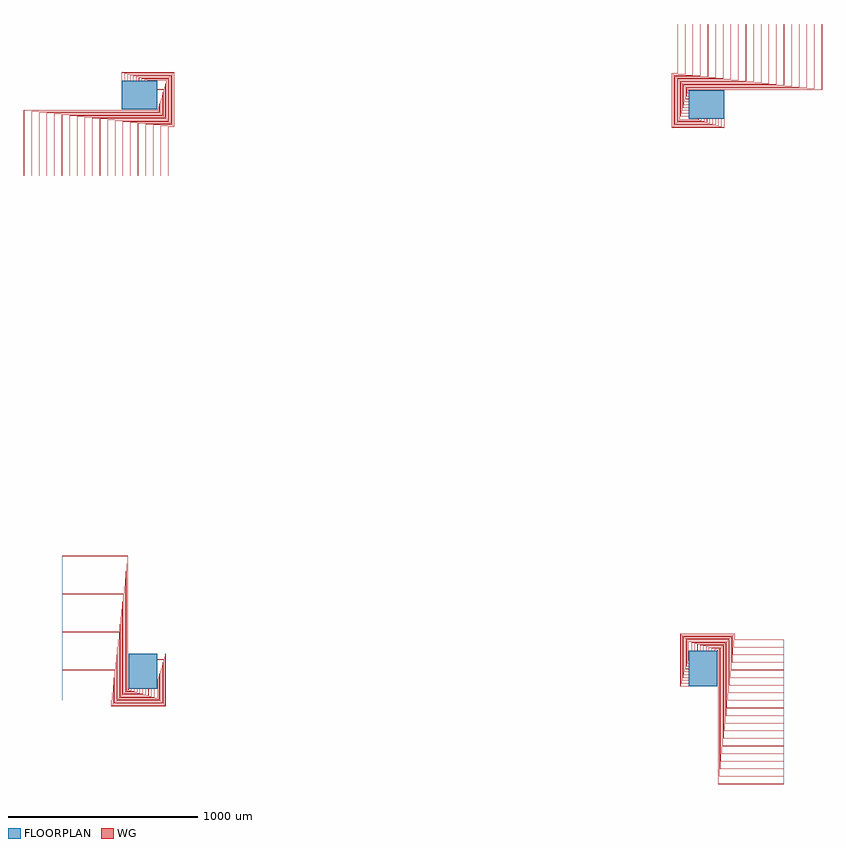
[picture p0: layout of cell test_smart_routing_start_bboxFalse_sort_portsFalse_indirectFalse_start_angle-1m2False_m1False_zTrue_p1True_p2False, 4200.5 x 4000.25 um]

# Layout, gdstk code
import gdstk
lib = gdstk.Library(unit=1e-6, precision=1e-09)
def R(c, l, rs):  # rectangles x0, y0, x1, y1
    for r in rs: c.add(gdstk.rectangle(r[:2], r[2:], *l))
def P(c, l, *ps):  # polygons
    for p in ps: c.add(gdstk.Polygon(p, *l))
WG = (1, 0)
FLOORPLAN = (10, 0)

test_smart_routing_start = lib.new_cell('test_smart_routing_start_bboxFalse_sort_portsFalse_indirectFalse_start_angle-1m2False_m1False_zTrue_p1True_p2False')
P(test_smart_routing_start, WG, [(2895.5,3049.75),(2895.5,3054.75),(3599.75,3054.75),(3599.75,3400),(3599.95,3400),(3599.95,3054.55),(2895.7,3054.55),(2895.7,3049.95),(2900,3049.95),(2900,3049.75)],
  [(2895.8,3050.05),(2895.8,3054.45),(3600.05,3054.45),(3600.05,3400),(3600.25,3400),(3600.25,3054.25),(2896,3054.25),(2896,3050.25),(2900,3050.25),(2900,3050.05)],
  [(2891,3034.75),(2891,3059.25),(3559.75,3059.25),(3559.75,3400),(3559.95,3400),(3559.95,3059.05),(2891.2,3059.05),(2891.2,3034.95),(2900,3034.95),(2900,3034.75)],
  [(2891.3,3035.05),(2891.3,3058.95),(3560.05,3058.95),(3560.05,3400),(3560.25,3400),(3560.25,3058.75),(2891.5,3058.75),(2891.5,3035.25),(2900,3035.25),(2900,3035.05)],
  [(2886.5,3019.75),(2886.5,3063.75),(3519.75,3063.75),(3519.75,3400),(3519.95,3400),(3519.95,3063.55),(2886.7,3063.55),(2886.7,3019.95),(2900,3019.95),(2900,3019.75)],
  [(2886.8,3020.05),(2886.8,3063.45),(3520.05,3063.45),(3520.05,3400),(3520.25,3400),(3520.25,3063.25),(2887,3063.25),(2887,3020.25),(2900,3020.25),(2900,3020.05)],
  [(2882,3004.75),(2882,3068.25),(3479.75,3068.25),(3479.75,3400),(3479.95,3400),(3479.95,3068.05),(2882.2,3068.05),(2882.2,3004.95),(2900,3004.95),(2900,3004.75)],
  [(2882.3,3005.05),(2882.3,3067.95),(3480.05,3067.95),(3480.05,3400),(3480.25,3400),(3480.25,3067.75),(2882.5,3067.75),(2882.5,3005.25),(2900,3005.25),(2900,3005.05)],
  [(2877.5,2989.75),(2877.5,3072.75),(3439.75,3072.75),(3439.75,3400),(3439.95,3400),(3439.95,3072.55),(2877.7,3072.55),(2877.7,2989.95),(2900,2989.95),(2900,2989.75)],
  [(2877.8,2990.05),(2877.8,3072.45),(3440.05,3072.45),(3440.05,3400),(3440.25,3400),(3440.25,3072.25),(2878,3072.25),(2878,2990.25),(2900,2990.25),(2900,2990.05)],
  [(2873,2974.75),(2873,3077.25),(3399.75,3077.25),(3399.75,3400),(3399.95,3400),(3399.95,3077.05),(2873.2,3077.05),(2873.2,2974.95),(2900,2974.95),(2900,2974.75)],
  [(2873.3,2975.05),(2873.3,3076.95),(3400.05,3076.95),(3400.05,3400),(3400.25,3400),(3400.25,3076.75),(2873.5,3076.75),(2873.5,2975.25),(2900,2975.25),(2900,2975.05)],
  [(2868.5,2959.75),(2868.5,3081.75),(3359.75,3081.75),(3359.75,3400),(3359.95,3400),(3359.95,3081.55),(2868.7,3081.55),(2868.7,2959.95),(2900,2959.95),(2900,2959.75)],
  [(2868.8,2960.05),(2868.8,3081.45),(3360.05,3081.45),(3360.05,3400),(3360.25,3400),(3360.25,3081.25),(2869,3081.25),(2869,2960.25),(2900,2960.25),(2900,2960.05)],
  [(2864,2944.75),(2864,3086.25),(3319.75,3086.25),(3319.75,3400),(3319.95,3400),(3319.95,3086.05),(2864.2,3086.05),(2864.2,2944.95),(2900,2944.95),(2900,2944.75)],
  [(2864.3,2945.05),(2864.3,3085.95),(3320.05,3085.95),(3320.05,3400),(3320.25,3400),(3320.25,3085.75),(2864.5,3085.75),(2864.5,2945.25),(2900,2945.25),(2900,2945.05)],
  [(2859.5,2929.75),(2859.5,3090.75),(3279.75,3090.75),(3279.75,3400),(3279.95,3400),(3279.95,3090.55),(2859.7,3090.55),(2859.7,2929.95),(2900,2929.95),(2900,2929.75)],
  [(2859.8,2930.05),(2859.8,3090.45),(3280.05,3090.45),(3280.05,3400),(3280.25,3400),(3280.25,3090.25),(2860,3090.25),(2860,2930.25),(2900,2930.25),(2900,2930.05)],
  [(2855,2914.75),(2855,3095.25),(3239.75,3095.25),(3239.75,3400),(3239.95,3400),(3239.95,3095.05),(2855.2,3095.05),(2855.2,2914.95),(2900,2914.95),(2900,2914.75)],
  [(2855.3,2915.05),(2855.3,3094.95),(3240.05,3094.95),(3240.05,3400),(3240.25,3400),(3240.25,3094.75),(2855.5,3094.75),(2855.5,2915.25),(2900,2915.25),(2900,2915.05)],
  [(2850.5,2895.5),(2850.5,3099.75),(3199.75,3099.75),(3199.75,3400),(3199.95,3400),(3199.95,3099.55),(2850.7,3099.55),(2850.7,2895.7),(2950.05,2895.7),(2950.05,2900),(2950.25,2900),(2950.25,2895.5)],
  [(2850.8,2895.8),(2850.8,3099.45),(3200.05,3099.45),(3200.05,3400),(3200.25,3400),(3200.25,3099.25),(2851,3099.25),(2851,2896),(2949.75,2896),(2949.75,2900),(2949.95,2900),(2949.95,2895.8)],
  [(2846,2891),(2846,3104.25),(3159.75,3104.25),(3159.75,3400),(3159.95,3400),(3159.95,3104.05),(2846.2,3104.05),(2846.2,2891.2),(2965.05,2891.2),(2965.05,2900),(2965.25,2900),(2965.25,2891)],
  [(2846.3,2891.3),(2846.3,3103.95),(3160.05,3103.95),(3160.05,3400),(3160.25,3400),(3160.25,3103.75),(2846.5,3103.75),(2846.5,2891.5),(2964.75,2891.5),(2964.75,2900),(2964.95,2900),(2964.95,2891.3)],
  [(2841.5,2886.5),(2841.5,3108.75),(3119.75,3108.75),(3119.75,3400),(3119.95,3400),(3119.95,3108.55),(2841.7,3108.55),(2841.7,2886.7),(2980.05,2886.7),(2980.05,2900),(2980.25,2900),(2980.25,2886.5)],
  [(2841.8,2886.8),(2841.8,3108.45),(3120.05,3108.45),(3120.05,3400),(3120.25,3400),(3120.25,3108.25),(2842,3108.25),(2842,2887),(2979.75,2887),(2979.75,2900),(2979.95,2900),(2979.95,2886.8)],
  [(2837,2882),(2837,3113.25),(3079.75,3113.25),(3079.75,3400),(3079.95,3400),(3079.95,3113.05),(2837.2,3113.05),(2837.2,2882.2),(2995.05,2882.2),(2995.05,2900),(2995.25,2900),(2995.25,2882)],
  [(2837.3,2882.3),(2837.3,3112.95),(3080.05,3112.95),(3080.05,3400),(3080.25,3400),(3080.25,3112.75),(2837.5,3112.75),(2837.5,2882.5),(2994.75,2882.5),(2994.75,2900),(2994.95,2900),(2994.95,2882.3)],
  [(2832.5,2877.5),(2832.5,3117.75),(3039.75,3117.75),(3039.75,3400),(3039.95,3400),(3039.95,3117.55),(2832.7,3117.55),(2832.7,2877.7),(3010.05,2877.7),(3010.05,2900),(3010.25,2900),(3010.25,2877.5)],
  [(2832.8,2877.8),(2832.8,3117.45),(3040.05,3117.45),(3040.05,3400),(3040.25,3400),(3040.25,3117.25),(2833,3117.25),(2833,2878),(3009.75,2878),(3009.75,2900),(3009.95,2900),(3009.95,2877.8)],
  [(2828,2873),(2828,3122.25),(2999.75,3122.25),(2999.75,3400),(2999.95,3400),(2999.95,3122.05),(2828.2,3122.05),(2828.2,2873.2),(3025.05,2873.2),(3025.05,2900),(3025.25,2900),(3025.25,2873)],
  [(2828.3,2873.3),(2828.3,3121.95),(3000.05,3121.95),(3000.05,3400),(3000.25,3400),(3000.25,3121.75),(2828.5,3121.75),(2828.5,2873.5),(3024.75,2873.5),(3024.75,2900),(3024.95,2900),(3024.95,2873.3)],
  [(2823.5,2868.5),(2823.5,3126.75),(2959.75,3126.75),(2959.75,3400),(2959.95,3400),(2959.95,3126.55),(2823.7,3126.55),(2823.7,2868.7),(3040.05,2868.7),(3040.05,2900),(3040.25,2900),(3040.25,2868.5)],
  [(2823.8,2868.8),(2823.8,3126.45),(2960.05,3126.45),(2960.05,3400),(2960.25,3400),(2960.25,3126.25),(2824,3126.25),(2824,2869),(3039.75,2869),(3039.75,2900),(3039.95,2900),(3039.95,2868.8)],
  [(2819,2864),(2819,3131.25),(2919.75,3131.25),(2919.75,3400),(2919.95,3400),(2919.95,3131.05),(2819.2,3131.05),(2819.2,2864.2),(3055.05,2864.2),(3055.05,2900),(3055.25,2900),(3055.25,2864)],
  [(2819.3,2864.3),(2819.3,3130.95),(2920.05,3130.95),(2920.05,3400),(2920.25,3400),(2920.25,3130.75),(2819.5,3130.75),(2819.5,2864.5),(3054.75,2864.5),(3054.75,2900),(3054.95,2900),(3054.95,2864.3)],
  [(2814.5,2859.5),(2814.5,3135.75),(2879.75,3135.75),(2879.75,3400),(2879.95,3400),(2879.95,3135.55),(2814.7,3135.55),(2814.7,2859.7),(3070.05,2859.7),(3070.05,2900),(3070.25,2900),(3070.25,2859.5)],
  [(2814.8,2859.8),(2814.8,3135.45),(2880.05,3135.45),(2880.05,3400),(2880.25,3400),(2880.25,3135.25),(2815,3135.25),(2815,2860),(3069.75,2860),(3069.75,2900),(3069.95,2900),(3069.95,2859.8)],
  [(2810,2855),(2810,3140.25),(2839.75,3140.25),(2839.75,3400),(2839.95,3400),(2839.95,3140.05),(2810.2,3140.05),(2810.2,2855.2),(3085.05,2855.2),(3085.05,2900),(3085.25,2900),(3085.25,2855)],
  [(2810.3,2855.3),(2810.3,3139.95),(2840.05,3139.95),(2840.05,3400),(2840.25,3400),(2840.25,3139.75),(2810.5,3139.75),(2810.5,2855.5),(3084.75,2855.5),(3084.75,2900),(3084.95,2900),(3084.95,2855.3)],
  [(-600.25,2600),(-600.25,2945.75),(104,2945.75),(104,2949.75),(100,2949.75),(100,2949.95),(104.2,2949.95),(104.2,2945.55),(-600.05,2945.55),(-600.05,2600)],
  [(-599.95,2600),(-599.95,2945.45),(104.3,2945.45),(104.3,2950.05),(100,2950.05),(100,2950.25),(104.5,2950.25),(104.5,2945.25),(-599.75,2945.25),(-599.75,2600)],
  [(-560.25,2600),(-560.25,2941.25),(108.5,2941.25),(108.5,2964.75),(100,2964.75),(100,2964.95),(108.7,2964.95),(108.7,2941.05),(-560.05,2941.05),(-560.05,2600)],
  [(-559.95,2600),(-559.95,2940.95),(108.8,2940.95),(108.8,2965.05),(100,2965.05),(100,2965.25),(109,2965.25),(109,2940.75),(-559.75,2940.75),(-559.75,2600)],
  [(-520.25,2600),(-520.25,2936.75),(113,2936.75),(113,2979.75),(100,2979.75),(100,2979.95),(113.2,2979.95),(113.2,2936.55),(-520.05,2936.55),(-520.05,2600)],
  [(-519.95,2600),(-519.95,2936.45),(113.3,2936.45),(113.3,2980.05),(100,2980.05),(100,2980.25),(113.5,2980.25),(113.5,2936.25),(-519.75,2936.25),(-519.75,2600)],
  [(-480.25,2600),(-480.25,2932.25),(117.5,2932.25),(117.5,2994.75),(100,2994.75),(100,2994.95),(117.7,2994.95),(117.7,2932.05),(-480.05,2932.05),(-480.05,2600)],
  [(-479.95,2600),(-479.95,2931.95),(117.8,2931.95),(117.8,2995.05),(100,2995.05),(100,2995.25),(118,2995.25),(118,2931.75),(-479.75,2931.75),(-479.75,2600)],
  [(-440.25,2600),(-440.25,2927.75),(122,2927.75),(122,3009.75),(100,3009.75),(100,3009.95),(122.2,3009.95),(122.2,2927.55),(-440.05,2927.55),(-440.05,2600)],
  [(-439.95,2600),(-439.95,2927.45),(122.3,2927.45),(122.3,3010.05),(100,3010.05),(100,3010.25),(122.5,3010.25),(122.5,2927.25),(-439.75,2927.25),(-439.75,2600)],
  [(-400.25,2600),(-400.25,2923.25),(126.5,2923.25),(126.5,3024.75),(100,3024.75),(100,3024.95),(126.7,3024.95),(126.7,2923.05),(-400.05,2923.05),(-400.05,2600)],
  [(-399.95,2600),(-399.95,2922.95),(126.8,2922.95),(126.8,3025.05),(100,3025.05),(100,3025.25),(127,3025.25),(127,2922.75),(-399.75,2922.75),(-399.75,2600)],
  [(-360.25,2600),(-360.25,2918.75),(131,2918.75),(131,3039.75),(100,3039.75),(100,3039.95),(131.2,3039.95),(131.2,2918.55),(-360.05,2918.55),(-360.05,2600)],
  [(-359.95,2600),(-359.95,2918.45),(131.3,2918.45),(131.3,3040.05),(100,3040.05),(100,3040.25),(131.5,3040.25),(131.5,2918.25),(-359.75,2918.25),(-359.75,2600)],
  [(-320.25,2600),(-320.25,2914.25),(135.5,2914.25),(135.5,3054.75),(100,3054.75),(100,3054.95),(135.7,3054.95),(135.7,2914.05),(-320.05,2914.05),(-320.05,2600)],
  [(-319.95,2600),(-319.95,2913.95),(135.8,2913.95),(135.8,3055.05),(100,3055.05),(100,3055.25),(136,3055.25),(136,2913.75),(-319.75,2913.75),(-319.75,2600)],
  [(-280.25,2600),(-280.25,2909.75),(140,2909.75),(140,3069.75),(100,3069.75),(100,3069.95),(140.2,3069.95),(140.2,2909.55),(-280.05,2909.55),(-280.05,2600)],
  [(-279.95,2600),(-279.95,2909.45),(140.3,2909.45),(140.3,3070.05),(100,3070.05),(100,3070.25),(140.5,3070.25),(140.5,2909.25),(-279.75,2909.25),(-279.75,2600)],
  [(-240.25,2600),(-240.25,2905.25),(144.5,2905.25),(144.5,3084.75),(100,3084.75),(100,3084.95),(144.7,3084.95),(144.7,2905.05),(-240.05,2905.05),(-240.05,2600)],
  [(-239.95,2600),(-239.95,2904.95),(144.8,2904.95),(144.8,3085.05),(100,3085.05),(100,3085.25),(145,3085.25),(145,2904.75),(-239.75,2904.75),(-239.75,2600)],
  [(-200.25,2600),(-200.25,2900.75),(149,2900.75),(149,3104),(50.25,3104),(50.25,3100),(50.05,3100),(50.05,3104.2),(149.2,3104.2),(149.2,2900.55),(-200.05,2900.55),(-200.05,2600)],
  [(-199.95,2600),(-199.95,2900.45),(149.3,2900.45),(149.3,3104.3),(49.95,3104.3),(49.95,3100),(49.75,3100),(49.75,3104.5),(149.5,3104.5),(149.5,2900.25),(-199.75,2900.25),(-199.75,2600)],
  [(-160.25,2600),(-160.25,2896.25),(153.5,2896.25),(153.5,3108.5),(35.25,3108.5),(35.25,3100),(35.05,3100),(35.05,3108.7),(153.7,3108.7),(153.7,2896.05),(-160.05,2896.05),(-160.05,2600)],
  [(-159.95,2600),(-159.95,2895.95),(153.8,2895.95),(153.8,3108.8),(34.95,3108.8),(34.95,3100),(34.75,3100),(34.75,3109),(154,3109),(154,2895.75),(-159.75,2895.75),(-159.75,2600)],
  [(-120.25,2600),(-120.25,2891.75),(158,2891.75),(158,3113),(20.25,3113),(20.25,3100),(20.05,3100),(20.05,3113.2),(158.2,3113.2),(158.2,2891.55),(-120.05,2891.55),(-120.05,2600)],
  [(-119.95,2600),(-119.95,2891.45),(158.3,2891.45),(158.3,3113.3),(19.95,3113.3),(19.95,3100),(19.75,3100),(19.75,3113.5),(158.5,3113.5),(158.5,2891.25),(-119.75,2891.25),(-119.75,2600)],
  [(-80.25,2600),(-80.25,2887.25),(162.5,2887.25),(162.5,3117.5),(5.25,3117.5),(5.25,3100),(5.05,3100),(5.05,3117.7),(162.7,3117.7),(162.7,2887.05),(-80.05,2887.05),(-80.05,2600)],
  [(-79.95,2600),(-79.95,2886.95),(162.8,2886.95),(162.8,3117.8),(4.95,3117.8),(4.95,3100),(4.75,3100),(4.75,3118),(163,3118),(163,2886.75),(-79.75,2886.75),(-79.75,2600)],
  [(-40.25,2600),(-40.25,2882.75),(167,2882.75),(167,3122),(-9.75,3122),(-9.75,3100),(-9.95,3100),(-9.95,3122.2),(167.2,3122.2),(167.2,2882.55),(-40.05,2882.55),(-40.05,2600)],
  [(-39.95,2600),(-39.95,2882.45),(167.3,2882.45),(167.3,3122.3),(-10.05,3122.3),(-10.05,3100),(-10.25,3100),(-10.25,3122.5),(167.5,3122.5),(167.5,2882.25),(-39.75,2882.25),(-39.75,2600)],
  [(-0.25,2600),(-0.25,2878.25),(171.5,2878.25),(171.5,3126.5),(-24.75,3126.5),(-24.75,3100),(-24.95,3100),(-24.95,3126.7),(171.7,3126.7),(171.7,2878.05),(-0.05,2878.05),(-0.05,2600)],
  [(0.05,2600),(0.05,2877.95),(171.8,2877.95),(171.8,3126.8),(-25.05,3126.8),(-25.05,3100),(-25.25,3100),(-25.25,3127),(172,3127),(172,2877.75),(0.25,2877.75),(0.25,2600)],
  [(39.75,2600),(39.75,2873.75),(176,2873.75),(176,3131),(-39.75,3131),(-39.75,3100),(-39.95,3100),(-39.95,3131.2),(176.2,3131.2),(176.2,2873.55),(39.95,2873.55),(39.95,2600)],
  [(40.05,2600),(40.05,2873.45),(176.3,2873.45),(176.3,3131.3),(-40.05,3131.3),(-40.05,3100),(-40.25,3100),(-40.25,3131.5),(176.5,3131.5),(176.5,2873.25),(40.25,2873.25),(40.25,2600)],
  [(79.75,2600),(79.75,2869.25),(180.5,2869.25),(180.5,3135.5),(-54.75,3135.5),(-54.75,3100),(-54.95,3100),(-54.95,3135.7),(180.7,3135.7),(180.7,2869.05),(79.95,2869.05),(79.95,2600)],
  [(80.05,2600),(80.05,2868.95),(180.8,2868.95),(180.8,3135.8),(-55.05,3135.8),(-55.05,3100),(-55.25,3100),(-55.25,3136),(181,3136),(181,2868.75),(80.25,2868.75),(80.25,2600)],
  [(119.75,2600),(119.75,2864.75),(185,2864.75),(185,3140),(-69.75,3140),(-69.75,3100),(-69.95,3100),(-69.95,3140.2),(185.2,3140.2),(185.2,2864.55),(119.95,2864.55),(119.95,2600)],
  [(120.05,2600),(120.05,2864.45),(185.3,2864.45),(185.3,3140.3),(-70.05,3140.3),(-70.05,3100),(-70.25,3100),(-70.25,3140.5),(185.5,3140.5),(185.5,2864.25),(120.25,2864.25),(120.25,2600)],
  [(159.75,2600),(159.75,2860.25),(189.5,2860.25),(189.5,3144.5),(-84.75,3144.5),(-84.75,3100),(-84.95,3100),(-84.95,3144.7),(189.7,3144.7),(189.7,2860.05),(159.95,2860.05),(159.95,2600)],
  [(160.05,2600),(160.05,2859.95),(189.8,2859.95),(189.8,3144.8),(-85.05,3144.8),(-85.05,3100),(-85.25,3100),(-85.25,3145),(190,3145),(190,2859.75),(160.25,2859.75),(160.25,2600)],
  [(-54.75,-104.5),(-54.75,599.75),(-400,599.75),(-400,599.95),(-54.55,599.95),(-54.55,-104.3),(-49.95,-104.3),(-49.95,-100),(-49.75,-100),(-49.75,-104.5)],
  [(-54.45,-104.2),(-54.45,600.05),(-400,600.05),(-400,600.25),(-54.25,600.25),(-54.25,-104),(-50.25,-104),(-50.25,-100),(-50.05,-100),(-50.05,-104.2)],
  [(-59.25,-109),(-59.25,559.75),(-400,559.75),(-400,559.95),(-59.05,559.95),(-59.05,-108.8),(-34.95,-108.8),(-34.95,-100),(-34.75,-100),(-34.75,-109)],
  [(-58.95,-108.7),(-58.95,560.05),(-400,560.05),(-400,560.25),(-58.75,560.25),(-58.75,-108.5),(-35.25,-108.5),(-35.25,-100),(-35.05,-100),(-35.05,-108.7)],
  [(-63.75,-113.5),(-63.75,519.75),(-400,519.75),(-400,519.95),(-63.55,519.95),(-63.55,-113.3),(-19.95,-113.3),(-19.95,-100),(-19.75,-100),(-19.75,-113.5)],
  [(-63.45,-113.2),(-63.45,520.05),(-400,520.05),(-400,520.25),(-63.25,520.25),(-63.25,-113),(-20.25,-113),(-20.25,-100),(-20.05,-100),(-20.05,-113.2)],
  [(-68.25,-118),(-68.25,479.75),(-400,479.75),(-400,479.95),(-68.05,479.95),(-68.05,-117.8),(-4.95,-117.8),(-4.95,-100),(-4.75,-100),(-4.75,-118)],
  [(-67.95,-117.7),(-67.95,480.05),(-400,480.05),(-400,480.25),(-67.75,480.25),(-67.75,-117.5),(-5.25,-117.5),(-5.25,-100),(-5.05,-100),(-5.05,-117.7)],
  [(-72.75,-122.5),(-72.75,439.75),(-400,439.75),(-400,439.95),(-72.55,439.95),(-72.55,-122.3),(10.05,-122.3),(10.05,-100),(10.25,-100),(10.25,-122.5)],
  [(-72.45,-122.2),(-72.45,440.05),(-400,440.05),(-400,440.25),(-72.25,440.25),(-72.25,-122),(9.75,-122),(9.75,-100),(9.95,-100),(9.95,-122.2)],
  [(-77.25,-127),(-77.25,399.75),(-400,399.75),(-400,399.95),(-77.05,399.95),(-77.05,-126.8),(25.05,-126.8),(25.05,-100),(25.25,-100),(25.25,-127)],
  [(-76.95,-126.7),(-76.95,400.05),(-400,400.05),(-400,400.25),(-76.75,400.25),(-76.75,-126.5),(24.75,-126.5),(24.75,-100),(24.95,-100),(24.95,-126.7)],
  [(-81.75,-131.5),(-81.75,359.75),(-400,359.75),(-400,359.95),(-81.55,359.95),(-81.55,-131.3),(40.05,-131.3),(40.05,-100),(40.25,-100),(40.25,-131.5)],
  [(-81.45,-131.2),(-81.45,360.05),(-400,360.05),(-400,360.25),(-81.25,360.25),(-81.25,-131),(39.75,-131),(39.75,-100),(39.95,-100),(39.95,-131.2)],
  [(-86.25,-136),(-86.25,319.75),(-400,319.75),(-400,319.95),(-86.05,319.95),(-86.05,-135.8),(55.05,-135.8),(55.05,-100),(55.25,-100),(55.25,-136)],
  [(-85.95,-135.7),(-85.95,320.05),(-400,320.05),(-400,320.25),(-85.75,320.25),(-85.75,-135.5),(54.75,-135.5),(54.75,-100),(54.95,-100),(54.95,-135.7)],
  [(-90.75,-140.5),(-90.75,279.75),(-400,279.75),(-400,279.95),(-90.55,279.95),(-90.55,-140.3),(70.05,-140.3),(70.05,-100),(70.25,-100),(70.25,-140.5)],
  [(-90.45,-140.2),(-90.45,280.05),(-400,280.05),(-400,280.25),(-90.25,280.25),(-90.25,-140),(69.75,-140),(69.75,-100),(69.95,-100),(69.95,-140.2)],
  [(-95.25,-145),(-95.25,239.75),(-400,239.75),(-400,239.95),(-95.05,239.95),(-95.05,-144.8),(85.05,-144.8),(85.05,-100),(85.25,-100),(85.25,-145)],
  [(-94.95,-144.7),(-94.95,240.05),(-400,240.05),(-400,240.25),(-94.75,240.25),(-94.75,-144.5),(84.75,-144.5),(84.75,-100),(84.95,-100),(84.95,-144.7)],
  [(-99.75,-149.5),(-99.75,199.75),(-400,199.75),(-400,199.95),(-99.55,199.95),(-99.55,-149.3),(104.3,-149.3),(104.3,-49.95),(100,-49.95),(100,-49.75),(104.5,-49.75),(104.5,-149.5)],
  [(-99.45,-149.2),(-99.45,200.05),(-400,200.05),(-400,200.25),(-99.25,200.25),(-99.25,-149),(104,-149),(104,-50.25),(100,-50.25),(100,-50.05),(104.2,-50.05),(104.2,-149.2)],
  [(-104.25,-154),(-104.25,159.75),(-400,159.75),(-400,159.95),(-104.05,159.95),(-104.05,-153.8),(108.8,-153.8),(108.8,-34.95),(100,-34.95),(100,-34.75),(109,-34.75),(109,-154)],
  [(-103.95,-153.7),(-103.95,160.05),(-400,160.05),(-400,160.25),(-103.75,160.25),(-103.75,-153.5),(108.5,-153.5),(108.5,-35.25),(100,-35.25),(100,-35.05),(108.7,-35.05),(108.7,-153.7)],
  [(-108.75,-158.5),(-108.75,119.75),(-400,119.75),(-400,119.95),(-108.55,119.95),(-108.55,-158.3),(113.3,-158.3),(113.3,-19.95),(100,-19.95),(100,-19.75),(113.5,-19.75),(113.5,-158.5)],
  [(-108.45,-158.2),(-108.45,120.05),(-400,120.05),(-400,120.25),(-108.25,120.25),(-108.25,-158),(113,-158),(113,-20.25),(100,-20.25),(100,-20.05),(113.2,-20.05),(113.2,-158.2)],
  [(-113.25,-163),(-113.25,79.75),(-400,79.75),(-400,79.95),(-113.05,79.95),(-113.05,-162.8),(117.8,-162.8),(117.8,-4.95),(100,-4.95),(100,-4.75),(118,-4.75),(118,-163)],
  [(-112.95,-162.7),(-112.95,80.05),(-400,80.05),(-400,80.25),(-112.75,80.25),(-112.75,-162.5),(117.5,-162.5),(117.5,-5.25),(100,-5.25),(100,-5.05),(117.7,-5.05),(117.7,-162.7)],
  [(-117.75,-167.5),(-117.75,39.75),(-400,39.75),(-400,39.95),(-117.55,39.95),(-117.55,-167.3),(122.3,-167.3),(122.3,10.05),(100,10.05),(100,10.25),(122.5,10.25),(122.5,-167.5)],
  [(-117.45,-167.2),(-117.45,40.05),(-400,40.05),(-400,40.25),(-117.25,40.25),(-117.25,-167),(122,-167),(122,9.75),(100,9.75),(100,9.95),(122.2,9.95),(122.2,-167.2)],
  [(-121.95,-171.7),(-121.95,0.05),(-400,0.05),(-400,0.25),(-121.75,0.25),(-121.75,-171.5),(126.5,-171.5),(126.5,24.75),(100,24.75),(100,24.95),(126.7,24.95),(126.7,-171.7)],
  [(-122.25,-172),(-122.25,-0.25),(-400,-0.25),(-400,-0.05),(-122.05,-0.05),(-122.05,-171.8),(126.8,-171.8),(126.8,25.05),(100,25.05),(100,25.25),(127,25.25),(127,-172)],
  [(-126.45,-176.2),(-126.45,-39.95),(-400,-39.95),(-400,-39.75),(-126.25,-39.75),(-126.25,-176),(131,-176),(131,39.75),(100,39.75),(100,39.95),(131.2,39.95),(131.2,-176.2)],
  [(-126.75,-176.5),(-126.75,-40.25),(-400,-40.25),(-400,-40.05),(-126.55,-40.05),(-126.55,-176.3),(131.3,-176.3),(131.3,40.05),(100,40.05),(100,40.25),(131.5,40.25),(131.5,-176.5)],
  [(-130.95,-180.7),(-130.95,-79.95),(-400,-79.95),(-400,-79.75),(-130.75,-79.75),(-130.75,-180.5),(135.5,-180.5),(135.5,54.75),(100,54.75),(100,54.95),(135.7,54.95),(135.7,-180.7)],
  [(-131.25,-181),(-131.25,-80.25),(-400,-80.25),(-400,-80.05),(-131.05,-80.05),(-131.05,-180.8),(135.8,-180.8),(135.8,55.05),(100,55.05),(100,55.25),(136,55.25),(136,-181)],
  [(-135.45,-185.2),(-135.45,-119.95),(-400,-119.95),(-400,-119.75),(-135.25,-119.75),(-135.25,-185),(140,-185),(140,69.75),(100,69.75),(100,69.95),(140.2,69.95),(140.2,-185.2)],
  [(-135.75,-185.5),(-135.75,-120.25),(-400,-120.25),(-400,-120.05),(-135.55,-120.05),(-135.55,-185.3),(140.3,-185.3),(140.3,70.05),(100,70.05),(100,70.25),(140.5,70.25),(140.5,-185.5)],
  [(-139.95,-189.7),(-139.95,-159.95),(-400,-159.95),(-400,-159.75),(-139.75,-159.75),(-139.75,-189.5),(144.5,-189.5),(144.5,84.75),(100,84.75),(100,84.95),(144.7,84.95),(144.7,-189.7)],
  [(-140.25,-190),(-140.25,-160.25),(-400,-160.25),(-400,-160.05),(-140.05,-160.05),(-140.05,-189.8),(144.8,-189.8),(144.8,85.05),(100,85.05),(100,85.25),(145,85.25),(145,-190)],
  [(3054.25,-600.25),(3054.25,104),(3050.25,104),(3050.25,100),(3050.05,100),(3050.05,104.2),(3054.45,104.2),(3054.45,-600.05),(3400,-600.05),(3400,-600.25)],
  [(3054.55,-599.95),(3054.55,104.3),(3049.95,104.3),(3049.95,100),(3049.75,100),(3049.75,104.5),(3054.75,104.5),(3054.75,-599.75),(3400,-599.75),(3400,-599.95)],
  [(3058.75,-560.25),(3058.75,108.5),(3035.25,108.5),(3035.25,100),(3035.05,100),(3035.05,108.7),(3058.95,108.7),(3058.95,-560.05),(3400,-560.05),(3400,-560.25)],
  [(3059.05,-559.95),(3059.05,108.8),(3034.95,108.8),(3034.95,100),(3034.75,100),(3034.75,109),(3059.25,109),(3059.25,-559.75),(3400,-559.75),(3400,-559.95)],
  [(3063.25,-520.25),(3063.25,113),(3020.25,113),(3020.25,100),(3020.05,100),(3020.05,113.2),(3063.45,113.2),(3063.45,-520.05),(3400,-520.05),(3400,-520.25)],
  [(3063.55,-519.95),(3063.55,113.3),(3019.95,113.3),(3019.95,100),(3019.75,100),(3019.75,113.5),(3063.75,113.5),(3063.75,-519.75),(3400,-519.75),(3400,-519.95)],
  [(3067.75,-480.25),(3067.75,117.5),(3005.25,117.5),(3005.25,100),(3005.05,100),(3005.05,117.7),(3067.95,117.7),(3067.95,-480.05),(3400,-480.05),(3400,-480.25)],
  [(3068.05,-479.95),(3068.05,117.8),(3004.95,117.8),(3004.95,100),(3004.75,100),(3004.75,118),(3068.25,118),(3068.25,-479.75),(3400,-479.75),(3400,-479.95)],
  [(3072.25,-440.25),(3072.25,122),(2990.25,122),(2990.25,100),(2990.05,100),(2990.05,122.2),(3072.45,122.2),(3072.45,-440.05),(3400,-440.05),(3400,-440.25)],
  [(3072.55,-439.95),(3072.55,122.3),(2989.95,122.3),(2989.95,100),(2989.75,100),(2989.75,122.5),(3072.75,122.5),(3072.75,-439.75),(3400,-439.75),(3400,-439.95)],
  [(3076.75,-400.25),(3076.75,126.5),(2975.25,126.5),(2975.25,100),(2975.05,100),(2975.05,126.7),(3076.95,126.7),(3076.95,-400.05),(3400,-400.05),(3400,-400.25)],
  [(3077.05,-399.95),(3077.05,126.8),(2974.95,126.8),(2974.95,100),(2974.75,100),(2974.75,127),(3077.25,127),(3077.25,-399.75),(3400,-399.75),(3400,-399.95)],
  [(3081.25,-360.25),(3081.25,131),(2960.25,131),(2960.25,100),(2960.05,100),(2960.05,131.2),(3081.45,131.2),(3081.45,-360.05),(3400,-360.05),(3400,-360.25)],
  [(3081.55,-359.95),(3081.55,131.3),(2959.95,131.3),(2959.95,100),(2959.75,100),(2959.75,131.5),(3081.75,131.5),(3081.75,-359.75),(3400,-359.75),(3400,-359.95)],
  [(3085.75,-320.25),(3085.75,135.5),(2945.25,135.5),(2945.25,100),(2945.05,100),(2945.05,135.7),(3085.95,135.7),(3085.95,-320.05),(3400,-320.05),(3400,-320.25)],
  [(3086.05,-319.95),(3086.05,135.8),(2944.95,135.8),(2944.95,100),(2944.75,100),(2944.75,136),(3086.25,136),(3086.25,-319.75),(3400,-319.75),(3400,-319.95)],
  [(3090.25,-280.25),(3090.25,140),(2930.25,140),(2930.25,100),(2930.05,100),(2930.05,140.2),(3090.45,140.2),(3090.45,-280.05),(3400,-280.05),(3400,-280.25)],
  [(3090.55,-279.95),(3090.55,140.3),(2929.95,140.3),(2929.95,100),(2929.75,100),(2929.75,140.5),(3090.75,140.5),(3090.75,-279.75),(3400,-279.75),(3400,-279.95)],
  [(3094.75,-240.25),(3094.75,144.5),(2915.25,144.5),(2915.25,100),(2915.05,100),(2915.05,144.7),(3094.95,144.7),(3094.95,-240.05),(3400,-240.05),(3400,-240.25)],
  [(3095.05,-239.95),(3095.05,144.8),(2914.95,144.8),(2914.95,100),(2914.75,100),(2914.75,145),(3095.25,145),(3095.25,-239.75),(3400,-239.75),(3400,-239.95)],
  [(3099.25,-200.25),(3099.25,149),(2896,149),(2896,50.25),(2900,50.25),(2900,50.05),(2895.8,50.05),(2895.8,149.2),(3099.45,149.2),(3099.45,-200.05),(3400,-200.05),(3400,-200.25)],
  [(3099.55,-199.95),(3099.55,149.3),(2895.7,149.3),(2895.7,49.95),(2900,49.95),(2900,49.75),(2895.5,49.75),(2895.5,149.5),(3099.75,149.5),(3099.75,-199.75),(3400,-199.75),(3400,-199.95)],
  [(3103.75,-160.25),(3103.75,153.5),(2891.5,153.5),(2891.5,35.25),(2900,35.25),(2900,35.05),(2891.3,35.05),(2891.3,153.7),(3103.95,153.7),(3103.95,-160.05),(3400,-160.05),(3400,-160.25)],
  [(3104.05,-159.95),(3104.05,153.8),(2891.2,153.8),(2891.2,34.95),(2900,34.95),(2900,34.75),(2891,34.75),(2891,154),(3104.25,154),(3104.25,-159.75),(3400,-159.75),(3400,-159.95)],
  [(3108.25,-120.25),(3108.25,158),(2887,158),(2887,20.25),(2900,20.25),(2900,20.05),(2886.8,20.05),(2886.8,158.2),(3108.45,158.2),(3108.45,-120.05),(3400,-120.05),(3400,-120.25)],
  [(3108.55,-119.95),(3108.55,158.3),(2886.7,158.3),(2886.7,19.95),(2900,19.95),(2900,19.75),(2886.5,19.75),(2886.5,158.5),(3108.75,158.5),(3108.75,-119.75),(3400,-119.75),(3400,-119.95)],
  [(3112.75,-80.25),(3112.75,162.5),(2882.5,162.5),(2882.5,5.25),(2900,5.25),(2900,5.05),(2882.3,5.05),(2882.3,162.7),(3112.95,162.7),(3112.95,-80.05),(3400,-80.05),(3400,-80.25)],
  [(3113.05,-79.95),(3113.05,162.8),(2882.2,162.8),(2882.2,4.95),(2900,4.95),(2900,4.75),(2882,4.75),(2882,163),(3113.25,163),(3113.25,-79.75),(3400,-79.75),(3400,-79.95)],
  [(3117.25,-40.25),(3117.25,167),(2878,167),(2878,-9.75),(2900,-9.75),(2900,-9.95),(2877.8,-9.95),(2877.8,167.2),(3117.45,167.2),(3117.45,-40.05),(3400,-40.05),(3400,-40.25)],
  [(3117.55,-39.95),(3117.55,167.3),(2877.7,167.3),(2877.7,-10.05),(2900,-10.05),(2900,-10.25),(2877.5,-10.25),(2877.5,167.5),(3117.75,167.5),(3117.75,-39.75),(3400,-39.75),(3400,-39.95)],
  [(2873.3,-24.95),(2873.3,171.7),(3121.95,171.7),(3121.95,-0.05),(3400,-0.05),(3400,-0.25),(3121.75,-0.25),(3121.75,171.5),(2873.5,171.5),(2873.5,-24.75),(2900,-24.75),(2900,-24.95)],
  [(2873,-25.25),(2873,172),(3122.25,172),(3122.25,0.25),(3400,0.25),(3400,0.05),(3122.05,0.05),(3122.05,171.8),(2873.2,171.8),(2873.2,-25.05),(2900,-25.05),(2900,-25.25)],
  [(2868.8,-39.95),(2868.8,176.2),(3126.45,176.2),(3126.45,39.95),(3400,39.95),(3400,39.75),(3126.25,39.75),(3126.25,176),(2869,176),(2869,-39.75),(2900,-39.75),(2900,-39.95)],
  [(2868.5,-40.25),(2868.5,176.5),(3126.75,176.5),(3126.75,40.25),(3400,40.25),(3400,40.05),(3126.55,40.05),(3126.55,176.3),(2868.7,176.3),(2868.7,-40.05),(2900,-40.05),(2900,-40.25)],
  [(2864.3,-54.95),(2864.3,180.7),(3130.95,180.7),(3130.95,79.95),(3400,79.95),(3400,79.75),(3130.75,79.75),(3130.75,180.5),(2864.5,180.5),(2864.5,-54.75),(2900,-54.75),(2900,-54.95)],
  [(2864,-55.25),(2864,181),(3131.25,181),(3131.25,80.25),(3400,80.25),(3400,80.05),(3131.05,80.05),(3131.05,180.8),(2864.2,180.8),(2864.2,-55.05),(2900,-55.05),(2900,-55.25)],
  [(2859.8,-69.95),(2859.8,185.2),(3135.45,185.2),(3135.45,119.95),(3400,119.95),(3400,119.75),(3135.25,119.75),(3135.25,185),(2860,185),(2860,-69.75),(2900,-69.75),(2900,-69.95)],
  [(2859.5,-70.25),(2859.5,185.5),(3135.75,185.5),(3135.75,120.25),(3400,120.25),(3400,120.05),(3135.55,120.05),(3135.55,185.3),(2859.7,185.3),(2859.7,-70.05),(2900,-70.05),(2900,-70.25)],
  [(2855.3,-84.95),(2855.3,189.7),(3139.95,189.7),(3139.95,159.95),(3400,159.95),(3400,159.75),(3139.75,159.75),(3139.75,189.5),(2855.5,189.5),(2855.5,-84.75),(2900,-84.75),(2900,-84.95)],
  [(2855,-85.25),(2855,190),(3140.25,190),(3140.25,160.25),(3400,160.25),(3400,160.05),(3140.05,160.05),(3140.05,189.8),(2855.2,189.8),(2855.2,-85.05),(2900,-85.05),(2900,-85.25)])
R(test_smart_routing_start, FLOORPLAN, [(-50,-100,100,85), (2900,-85,3050,100), (2900,2900,3085,3050), (-85,2950,100,3100)])
P(test_smart_routing_start, FLOORPLAN, [(-400,-160),(-400,600),(-400,600),(-400,-160)],
  [(-600,2600),(-600,2600),(160,2600),(160,2600)],
  [(3400,-600),(3400,160),(3400,160),(3400,-600)],
  [(2840,3400),(2840,3400),(3600,3400),(3600,3400)])

lib.write_gds('test_smart_routing_start_bboxFalse_sort_portsFalse_indirectFalse_start_angle-1m2False_m1False_zTrue_p1True_p2False.gds')
